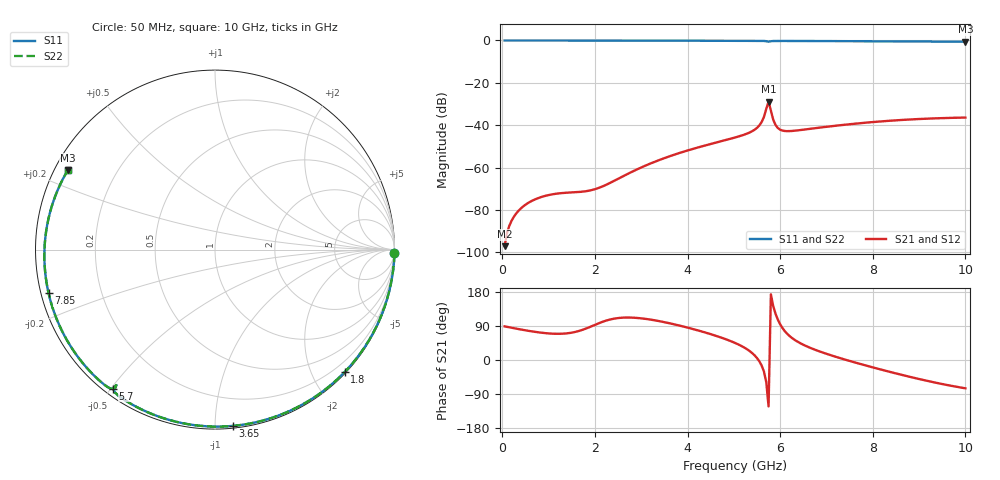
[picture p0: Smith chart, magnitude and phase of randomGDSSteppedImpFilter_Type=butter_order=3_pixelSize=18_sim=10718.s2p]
! freq	dB(S11)	phase(S11)	dB(S12)	phase(S12)
!  dB(S21)	phase(S21)	dB(S22)	phase(S22)
!S-par simulation data
#  GHz  S  DB  R 50
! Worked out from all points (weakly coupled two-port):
!   200 points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, 50 MHz to 10 GHz, reference 50 ohm
!   highest |S21| = -28.84 dB at 5.75 GHz (marker M1); lowest = -97.0 dB at 50 MHz (marker M2)
!   lowest |S11| = -0.6 dB at 10 GHz (marker M3), VSWR 28.45, Z = 1.87 + j12.6 ohm
!   |S11| at or under -10 dB: nowhere
!   |S22| runs from -0.6 to 0.0 dB; largest |S21 - S12| = 0
!   S11 on the Smith chart (normalised r, x): 50 MHz: 0, -93; 1.8 GHz: 0.02, -2.52; 3.65 GHz: 0.01, -1.10; 5.7 GHz: 0.03, -0.51; 7.85 GHz: 0.02, -0.13; 10 GHz: 0.04, +0.25
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0.05  -0.00 -1.2  -97.04 88.7  -97.04 88.7  -0.00 -1.2
0.35  -0.01 -8.6  -80.34 81.6  -80.34 81.6  -0.01 -8.6
0.65  -0.02 -15.9  -75.54 75.3  -75.54 75.3  -0.02 -15.9
0.95  -0.03 -23.2  -73.18 70.6  -73.18 70.6  -0.03 -23.2
1.75  -0.05 -42.2  -71.28 80.4  -71.28 80.4  -0.05 -42.2
1.8  -0.06 -43.3  -71.14 82.6  -71.14 82.6  -0.06 -43.3
2.15  -0.07 -51.4  -68.98 100.2  -68.98 100.2  -0.07 -51.4
3.4  -0.10 -79.0  -56.31 102.3  -56.31 102.3  -0.10 -79.0
3.65  -0.11 -84.3  -54.35 95.9  -54.35 95.9  -0.11 -84.3
5.05  -0.17 -112.7  -45.64 43.7  -45.64 43.7  -0.17 -112.6
5.5  -0.20 -121.6  -41.23 5.2  -41.23 5.2  -0.20 -121.6
5.6  -0.22 -123.7  -38.49 -14.5  -38.49 -14.5  -0.22 -123.7
5.7  -0.35 -126.3  -32.27 -58.4  -32.27 -58.4  -0.34 -126.3
5.75  -0.60 -126.1  -28.84 -122.5  -28.84 -122.5  -0.59 -126.0
5.85  -0.27 -127.0  -37.34 142.4  -37.34 142.4  -0.27 -127.0
5.9  -0.25 -128.2  -39.86 122.1  -39.86 122.1  -0.25 -128.2
6  -0.24 -130.3  -42.10 94.2  -42.10 94.2  -0.24 -130.3
6.2  -0.24 -134.2  -42.77 63.6  -42.77 63.6  -0.24 -134.2
6.7  -0.27 -143.7  -41.54 29.6  -41.54 29.6  -0.27 -143.7
7.85  -0.37 -165.3  -38.78 -14.5  -38.78 -14.5  -0.37 -165.2
8.35  -0.42 -174.8  -37.90 -30.7  -37.90 -30.7  -0.42 -174.8
10  -0.61 151.6  -36.37 -74.7  -36.37 -74.7  -0.61 151.6
